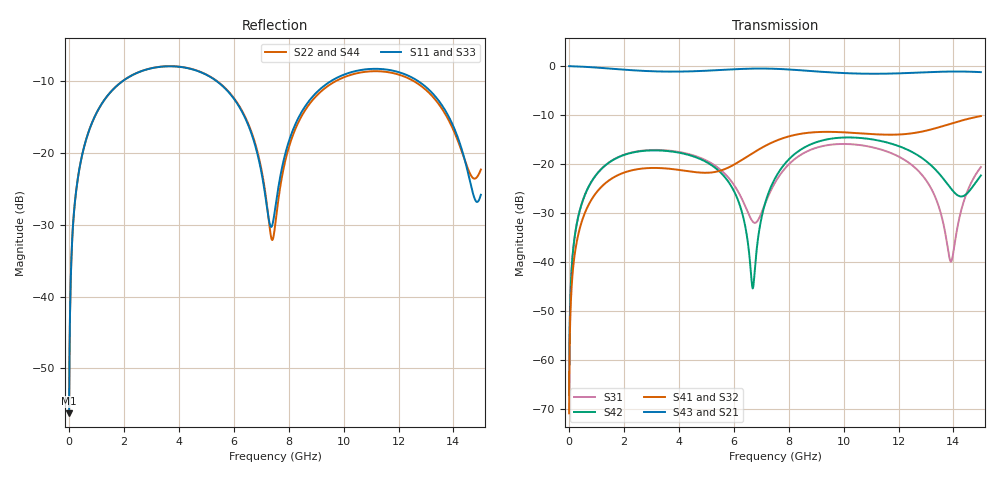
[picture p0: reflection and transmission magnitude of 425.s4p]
! Created with skrf 1.8.0 (http://scikit-rf.org).
# GHz S RI R 50.0
!freq ReS11 ImS11 ReS12 ImS12 ReS13 ImS13
! ReS14 ImS14
! ReS21 ImS21 ReS22 ImS22 ReS23 ImS23
! ReS24 ImS24
! ReS31 ImS31 ReS32 ImS32 ReS33 ImS33
! ReS34 ImS34
! ReS41 ImS41 ReS42 ImS42 ReS43 ImS43
! ReS44 ImS44
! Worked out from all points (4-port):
!   2499 points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, 5 MHz to 15 GHz, reference 50 ohm
!   strongest paths, dB at 5 MHz, 3.476 GHz, 7.19 GHz, 11.1 GHz, 15 GHz:
!     S43: 0.0, -1.1, -0.5, -1.6, -1.2
!     S21: 0.0, -1.1, -0.5, -1.6, -1.2
!     S41: -71.0, -20.9, -16.2, -13.9, -10.2
!     S32: -71.0, -20.8, -16.2, -13.8, -10.2
!     S42: -67.2, -17.3, -27.1, -15.0, -22.3
!     S31: -67.2, -17.2, -27.4, -16.7, -20.6
!   lowest |S11| = -56.3 dB at 5 MHz (marker M1), VSWR 1.00, Z = 50.1 + j0.0939 ohm
!   |S11| at or under -10 dB: start of sweep to 1.955 GHz; 5.375 GHz to 9.541 GHz (4.166 GHz wide, 55.9 % of centre); 12.71 GHz to end of sweep
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0.005  0.00122 0.000937  0.9988 -0.00238  5.84e-05 0.00043  -5.71e-05 -0.000277
       0.9988 -0.00238  0.00122 0.000937  -5.71e-05 -0.000277  5.84e-05 0.00043
       5.84e-05 0.00043  -5.71e-05 -0.000277  0.00122 0.000937  0.9988 -0.00238
       -5.71e-05 -0.000277  5.84e-05 0.00043  0.9988 -0.00238  0.00122 0.000937
0.4126719  0.0222 0.081  0.9694 -0.1949  0.00951 0.0338  -0.00795 -0.0216
           0.9694 -0.1949  0.0222 0.081  -0.00795 -0.0216  0.00938 0.0338
           0.00951 0.0338  -0.00795 -0.0216  0.0222 0.081  0.9694 -0.1949
           -0.00795 -0.0216  0.00938 0.0338  0.9694 -0.1949  0.0222 0.081
2.075865  0.2708 0.1851  0.5524 -0.7316  0.1148 0.0524  -0.0826 -0.00712
          0.5524 -0.7316  0.2714 0.1846  -0.0827 -0.00695  0.113 0.0549
          0.1148 0.0524  -0.0827 -0.00695  0.2707 0.1851  0.5524 -0.7316
          -0.0826 -0.00712  0.113 0.0549  0.5524 -0.7316  0.2715 0.1846
6.690288  0.063 -0.112  -0.8808 -0.3371  -0.0234 -0.011  -0.0432 0.1217
          -0.8808 -0.3371  0.0596 -0.1178  -0.0409 0.1225  0.00534 0.000347
          -0.0234 -0.011  -0.0409 0.1225  0.0639 -0.112  -0.8806 -0.3372
          -0.0432 0.1217  0.00534 0.000347  -0.8806 -0.3372  0.0591 -0.1183
7.365569  0.0305 -0.00078  -0.9399 -0.0524  -0.0147 0.0525  -0.00632 0.1642
          -0.9399 -0.0524  0.0245 -0.00761  -0.00339 0.1642  0.0216 0.0552
          -0.0147 0.0525  -0.00339 0.1642  0.0313 -0.00135  -0.9399 -0.0527
          -0.00632 0.1642  0.0216 0.0552  -0.9399 -0.0527  0.0239 -0.00794
10.72947  0.3778 0.0425  -0.1995 0.8123  0.1522 -0.0239  0.2039 -0.0153
          -0.1995 0.8123  0.3614 0.0558  0.2052 -0.0205  0.1674 -0.0743
          0.1522 -0.0239  0.2052 -0.0205  0.3755 0.0431  -0.1998 0.8128
          0.2039 -0.0153  0.1674 -0.0743  -0.1998 0.8128  0.3612 0.0546
15  0.0482 0.0172  0.8677 0.0258  0.0353 0.0862  0.00387 -0.3085
    0.8677 0.0258  0.0707 0.0294  -0.00793 -0.3082  0.000162 0.0763
    0.0353 0.0862  -0.00793 -0.3082  0.0524 0.0179  0.8678 0.0252
    0.00387 -0.3085  0.000162 0.0763  0.8678 0.0252  0.0657 0.0321
